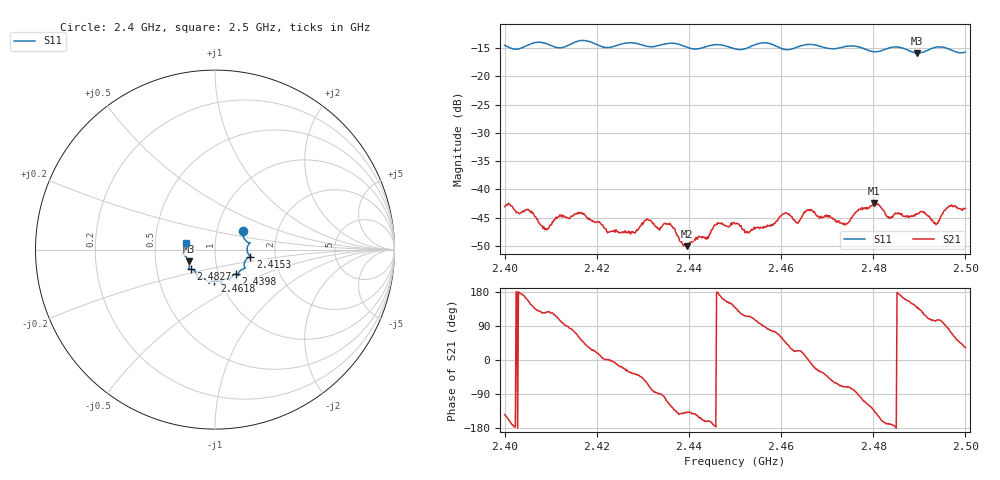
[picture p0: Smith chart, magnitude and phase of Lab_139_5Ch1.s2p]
# Hz S RI R 50
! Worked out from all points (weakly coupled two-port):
!   601 points, 2.4 GHz to 2.5 GHz, reference 50 ohm
!   highest |S21| = -42.40 dB at 2.4802 GHz (marker M1); lowest = -50.1 dB at 2.4395 GHz (marker M2)
!   lowest |S11| = -15.9 dB at 2.4895 GHz (marker M3), VSWR 1.38, Z = 37 - j5.01 ohm
!   |S11| at or under -10 dB: start of sweep to end of sweep
!   S12 and S22 are empty: the file has one direction only
!   S11 on the Smith chart (normalised r, x): 2.4 GHz: 1.33, +0.29; 2.4153 GHz: 1.48, -0.12; 2.4398 GHz: 1.21, -0.34; 2.4618 GHz: 0.94, -0.33; 2.4827 GHz: 0.75, -0.17; 2.5 GHz: 0.72, +0.06
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2.4e9  0.1551 0.1063  -0.00568 -0.00414  0 0  0 0
2.405333e9  0.1865 0.0389  -0.00579 0.00297  0 0  0 0
2.408833e9  0.1924 0.0357  -0.00251 0.0037  0 0  0 0
2.415333e9  0.1968 -0.0392  0.00195 0.00574  0 0  0 0
2.416667e9  0.2026 -0.0434  0.00384 0.00491  0 0  0 0
2.422667e9  0.1643 -0.0722  0.00419 7.08e-05  0 0  0 0
2.433333e9  0.13 -0.1337  8.46e-05 -0.00446  0 0  0 0
2.435833e9  0.1317 -0.1449  -0.00242 -0.00437  0 0  0 0
2.4395e9  0.1189 -0.1364  -0.00238 -0.00205  0 0  0 0
2.439833e9  0.1156 -0.1363  -0.00238 -0.00217  0 0  0 0
2.45e9  0.0648 -0.1621  -0.00373 0.00325  0 0  0 0
2.452667e9  0.0399 -0.1731  -0.00173 0.00375  0 0  0 0
2.461833e9  -0.00323 -0.1723  0.00488 0.00333  0 0  0 0
2.466667e9  -0.0344 -0.1879  0.00635 -0.00129  0 0  0 0
2.473833e9  -0.0875 -0.1605  0.0016 -0.00456  0 0  0 0
2.480167e9  -0.1111 -0.1216  -0.00517 -0.00555  0 0  0 0
2.482667e9  -0.135 -0.1088  -0.00579 -0.00142  0 0  0 0
2.483333e9  -0.1403 -0.1084  -0.00563 -0.00106  0 0  0 0
2.4895e9  -0.146 -0.0661  -0.00445 0.00409  0 0  0 0
2.4935e9  -0.1788 -0.0242  -0.00109 0.00484  0 0  0 0
2.4965e9  -0.1733 -0.0122  0.00144 0.00701  0 0  0 0
2.5e9  -0.1594 0.0383  0.00571 0.00369  0 0  0 0
